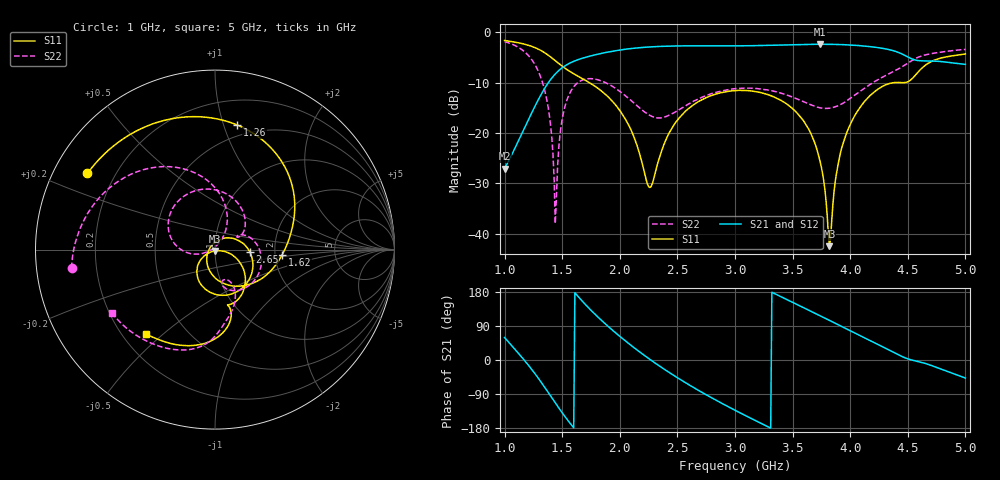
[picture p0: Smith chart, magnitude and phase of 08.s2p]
!Agilent Technologies,N5224A,MY51441093,A.09.90.21
!Agilent N5224A: A.09.90.21
!Date: Wednesday, October 01, 2025 16:38:07
!Correction: S11(Full 2 Port(1,2))
!S21(Full 2 Port(1,2))
!S12(Full 2 Port(1,2))
!S22(Full 2 Port(1,2))
!S2P File: Measurements: S11, S21, S12, S22:
# Hz S  dB  R 50
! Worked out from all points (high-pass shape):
!   401 points, 1 GHz to 5 GHz, reference 50 ohm
!   highest |S21| = -2.40 dB at 3.74 GHz (marker M1); lowest = -27.1 dB at 1 GHz (marker M2)
!   |S21| within 3 dB of the highest: 1.644 GHz to 4.547 GHz (2.902 GHz wide, 93.8 % of centre)
!   lowest |S11| = -42.5 dB at 3.82 GHz (marker M3), VSWR 1.02, Z = 50 - j0.753 ohm
!   |S11| at or under -10 dB: 1.735 GHz to 4.384 GHz (2.649 GHz wide, 86.6 % of centre); 4.434 GHz to 4.471 GHz (37.02 MHz wide, 0.831 % of centre)
!   |S22| runs from -38.0 to -1.9 dB; largest |S21 - S12| = 0.004
!   S11 on the Smith chart (normalised r, x): 1 GHz: 0.10, +0.27; 1.26 GHz: 0.40, +1.11; 1.62 GHz: 2.19, -0.15; 2.65 GHz: 1.48, -0.04; 5 GHz: 0.29, -0.44
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1e9  -1.64 149.2  -27.06 59.1  -27.04 59.1  -1.87 -172.6
1.26e9  -3.03 80.1  -14.85 -34.6  -14.84 -34.7  -6.29 111.5
1.37e9  -4.42 49.4  -10.34 -81.8  -10.34 -81.8  -13.86 70.4
1.44e9  -5.66 31.8  -8.28 -113.2  -8.27 -113.3  -37.98 101.4
1.51e9  -6.92 16.6  -6.89 -143.5  -6.88 -143.5  -16.05 -173.9
1.62e9  -8.52 -4.6  -5.59 174.0  -5.59 174.0  -10.32 148.4
1.67e9  -9.15 -14.4  -5.20 156.7  -5.19 156.7  -9.54 132.7
1.82e9  -11.31 -45.5  -4.31 110.5  -4.29 110.5  -9.52 91.2
1.96e9  -14.35 -76.7  -3.69 72.6  -3.67 72.5  -11.10 59.8
2.25e9  -30.64 158.5  -2.94 4.0  -2.93 4.1  -16.37 27.9
2.34e9  -25.19 70.2  -2.83 -15.0  -2.82 -15.0  -17.03 29.9
2.65e9  -14.25 -3.4  -2.70 -74.4  -2.69 -74.4  -13.58 18.0
3e9  -11.61 -56.9  -2.71 -132.6  -2.69 -132.6  -11.21 -23.8
3.33e9  -12.77 -102.1  -2.59 177.2  -2.57 177.3  -11.67 -60.6
3.67e9  -20.70 -145.7  -2.41 126.9  -2.39 126.8  -14.51 -78.2
3.74e9  -25.78 -151.3  -2.40 116.5  -2.38 116.4  -15.01 -76.1
3.82e9  -42.47 -89.9  -2.40 104.5  -2.38 104.4  -15.09 -71.6
3.89e9  -26.85 -11.2  -2.43 94.0  -2.41 93.9  -14.64 -67.0
3.98e9  -19.34 -18.5  -2.52 80.4  -2.49 80.3  -13.46 -63.7
4.34e9  -10.19 -67.0  -3.47 25.8  -3.44 25.5  -8.21 -79.5
4.64e9  -6.78 -83.6  -5.69 -7.9  -5.67 -8.2  -4.58 -108.6
5e9  -4.32 -129.3  -6.39 -47.6  -6.38 -47.8  -3.42 -148.7
